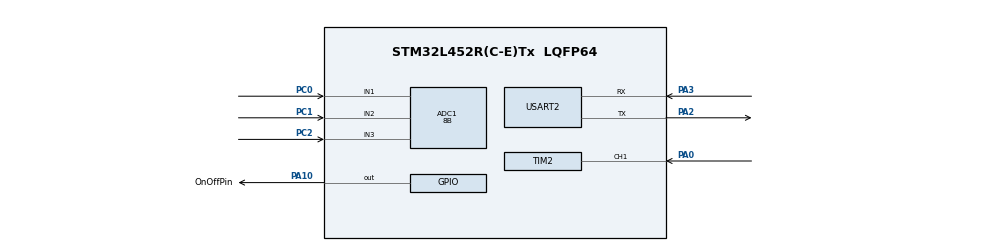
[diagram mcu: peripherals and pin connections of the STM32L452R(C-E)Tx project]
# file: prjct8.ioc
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ADC1.Channel-0\#ChannelRegularConversion=ADC_CHANNEL_1
ADC1.Channel-1\#ChannelRegularConversion=ADC_CHANNEL_1
ADC1.Channel-2\#ChannelRegularConversion=ADC_CHANNEL_1
ADC1.DiscontinuousConvMode=ENABLE
ADC1.NbrOfConversion=3
ADC1.NbrOfConversionFlag=1
ADC1.NbrOfDiscConversion=2
ADC1.OffsetNumber-0\#ChannelRegularConversion=ADC_OFFSET_NONE
ADC1.OffsetNumber-1\#ChannelRegularConversion=ADC_OFFSET_NONE
ADC1.OffsetNumber-2\#ChannelRegularConversion=ADC_OFFSET_NONE
ADC1.Rank-0\#ChannelRegularConversion=1
ADC1.Rank-1\#ChannelRegularConversion=2
ADC1.Rank-2\#ChannelRegularConversion=3
ADC1.Resolution=ADC_RESOLUTION_8B
ADC1.SamplingTime-0\#ChannelRegularConversion=ADC_SAMPLETIME_2CYCLES_5
ADC1.SamplingTime-1\#ChannelRegularConversion=ADC_SAMPLETIME_2CYCLES_5
ADC1.SamplingTime-2\#ChannelRegularConversion=ADC_SAMPLETIME_2CYCLES_5
ADC1.master=1
Dma.ADC1.0.Direction=DMA_PERIPH_TO_MEMORY
Dma.ADC1.0.Instance=DMA1_Channel1
Dma.ADC1.0.MemDataAlignment=DMA_MDATAALIGN_HALFWORD
Dma.ADC1.0.MemInc=DMA_MINC_ENABLE
Dma.ADC1.0.Mode=DMA_NORMAL
Dma.ADC1.0.PeriphDataAlignment=DMA_PDATAALIGN_HALFWORD
Dma.ADC1.0.PeriphInc=DMA_PINC_DISABLE
Dma.ADC1.0.Priority=DMA_PRIORITY_LOW
Dma.Request0=ADC1
Mcu.Family=STM32L4
Mcu.Name=STM32L452R(C-E)Tx
Mcu.Package=LQFP64
NVIC.DMA1_Channel1_IRQn=true\:0\:0\:false\:false\:true\:false\:true\:true
NVIC.PriorityGroup=NVIC_PRIORITYGROUP_4
NVIC.TIM2_IRQn=true\:0\:0\:false\:false\:true\:true\:true\:true
PA0.Signal=S_TIM2_CH1
PA10.GPIO_Label=OnOffPin
PA10.Signal=GPIO_Output
PA2.Mode=Asynchronous
PA2.Signal=USART2_TX
PA3.Mode=Asynchronous
PA3.Signal=USART2_RX
PC0.Signal=ADCx_IN1
PC1.Signal=ADCx_IN2
PC2.Signal=ADCx_IN3
ProjectManager.HeapSize=0x200
ProjectManager.StackSize=0x400
ProjectManager.TargetToolchain=STM32CubeIDE
RCC.ADCFreq_Value=32000000
RCC.AHBCLKDivider=RCC_SYSCLK_DIV8
RCC.AHBFreq_Value=4000000
RCC.APB1Freq_Value=4000000
RCC.APB1TimFreq_Value=4000000
RCC.APB2Freq_Value=4000000
RCC.APB2TimFreq_Value=4000000
RCC.CortexFreq_Value=4000000
RCC.HCLKFreq_Value=4000000
RCC.HSE_VALUE=8000000
RCC.HSI48_VALUE=48000000
RCC.HSI_VALUE=16000000
RCC.LSE_VALUE=32768
RCC.MSI_VALUE=4000000
RCC.PLLN=16
RCC.PLLSAI1N=16
RCC.SYSCLKFreq_VALUE=32000000
RCC.SYSCLKSource=RCC_SYSCLKSOURCE_PLLCLK
RCC.USBFreq_Value=32000000
RCC.VCOOutputFreq_Value=64000000
SH.ADCx_IN1.0=ADC1_IN1,IN1-Single-Ended
SH.ADCx_IN2.0=ADC1_IN2,IN2-Single-Ended
SH.ADCx_IN3.0=ADC1_IN3,IN3-Single-Ended
SH.S_TIM2_CH1.0=TIM2_CH1,Input_Capture1_from_TI1
TIM2.Channel-Input_Capture1_from_TI1=TIM_CHANNEL_1
USART2.VirtualMode-Asynchronous=VM_ASYNC
board=custom

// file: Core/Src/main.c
/* USER CODE BEGIN Header */
/**
 ******************************************************************************
 * @file           : main.c
 * @brief          : Main program body
 ******************************************************************************
 * @attention
 *
 * Copyright (c) 2023 STMicroelectronics.
 * All rights reserved.
 *
 * This software is licensed under terms that can be found in the LICENSE file
 * in the root directory of this software component.
 * If no LICENSE file comes with this software, it is provided AS-IS.
 *
 ******************************************************************************
 */
/* USER CODE END Header */
#include "main.h"
#include <stdio.h>
#include <stdlib.h>
#include <string.h>

ADC_HandleTypeDef hadc1;
DMA_HandleTypeDef hdma_adc1;

TIM_HandleTypeDef htim2;

UART_HandleTypeDef huart2;

void SystemClock_Config(void);
static void MX_GPIO_Init(void);
static void MX_DMA_Init(void);
static void MX_ADC1_Init(void);
static void MX_USART2_UART_Init(void);
static void MX_TIM2_Init(void);

/* USER CODE BEGIN 0 */

void SET_CHANNEL_ONE() {

	ADC_ChannelConfTypeDef sConfig = { 0 };
	sConfig.Channel = ADC_CHANNEL_1;
	sConfig.Rank = ADC_REGULAR_RANK_1;
	sConfig.SamplingTime = ADC_SAMPLETIME_640CYCLES_5;
	sConfig.SingleDiff = ADC_SINGLE_ENDED;
	sConfig.OffsetNumber = ADC_OFFSET_NONE;
	sConfig.Offset = 0;
	if (HAL_ADC_ConfigChannel(&hadc1, &sConfig) != HAL_OK) {
		Error_Handler();
	}

}
void SET_CHANNEL_TWO() {

	ADC_ChannelConfTypeDef sConfig = { 0 };

	sConfig.Rank = ADC_REGULAR_RANK_1;
	if (HAL_ADC_ConfigChannel(&hadc1, &sConfig) != HAL_OK) {
		Error_Handler();
	}

}
void SET_CHANNEL_THREE() {

	ADC_ChannelConfTypeDef sConfig = { 0 };
	sConfig.Rank = ADC_REGULAR_RANK_1;
	if (HAL_ADC_ConfigChannel(&hadc1, &sConfig) != HAL_OK) {
		Error_Handler();
	}

}

int READ_CHANNEL_ONE() {

	int data_conversion_1;
	SET_CHANNEL_ONE();
	HAL_ADC_Start(&hadc1);

	HAL_ADC_PollForConversion(&hadc1, 500);

	data_conversion_1 = HAL_ADC_GetValue(&hadc1);
	return data_conversion_1;
}

int READ_CHANNEL_TWO() {
	int data_conversion_2;
	SET_CHANNEL_TWO();
	HAL_ADC_Start(&hadc1);

	HAL_ADC_PollForConversion(&hadc1, 500);

	data_conversion_2 = HAL_ADC_GetValue(&hadc1);

	return data_conversion_2;
}

int READ_CHANNEL_THREE() {
	int data_conversion_3;
	SET_CHANNEL_THREE();
	HAL_ADC_Start(&hadc1);

	HAL_ADC_PollForConversion(&hadc1, 500);

	data_conversion_3 = HAL_ADC_GetValue(&hadc1);

	return data_conversion_3;
}

volatile uint32_t tempo = 0;
void HAL_TIM_PeriodElapsedCallback(TIM_HandleTypeDef *htim) {
	if (htim->Instance == TIM2) {
		tempo++;
	}
}

/* USER CODE END 0 */

int main(void) {

	/* MCU Configuration--------------------------------------------------------*/

	/* Reset of all peripherals, Initializes the Flash interface and the Systick. */
	HAL_Init();

	/* Configure the system clock */
	SystemClock_Config();

	/* Initialize all configured peripherals */
	MX_GPIO_Init();
	MX_DMA_Init();
	MX_ADC1_Init();
	MX_USART2_UART_Init();
	MX_TIM2_Init();
	/* USER CODE BEGIN 2 */

	int data_conversion_1;
	int data_conversion_2;
	int data_conversion_3;
	int c = 0;
	char cBuff[100];

	/* USER CODE END 2 */

	/* Infinite loop */
	/* USER CODE BEGIN WHILE */
	while (1) {
		while (tempo < 1) {
			HAL_TIM_Base_Start_IT(&htim2);

			HAL_GPIO_WritePin( GPIOA, OnOffPin_Pin, GPIO_PIN_SET);
			data_conversion_1 = READ_CHANNEL_ONE();
			HAL_GPIO_WritePin( GPIOA, OnOffPin_Pin, GPIO_PIN_RESET);

			HAL_GPIO_WritePin( GPIOA, OnOffPin_Pin, GPIO_PIN_SET);
			data_conversion_2 = READ_CHANNEL_TWO();
			HAL_GPIO_WritePin( GPIOA, OnOffPin_Pin, GPIO_PIN_RESET);

			HAL_GPIO_WritePin( GPIOA, OnOffPin_Pin, GPIO_PIN_SET);
			data_conversion_3 = READ_CHANNEL_THREE();
			HAL_GPIO_WritePin( GPIOA, OnOffPin_Pin, GPIO_PIN_RESET);

			HAL_ADC_Stop(&hadc1);
			c++;
		}
		itoa(c,cBuff,10);
		HAL_UART_Transmit(&huart2, (uint8_t*) cBuff, strlen(cBuff),
		HAL_MAX_DELAY);
		tempo = 0;
		c = 0;

	}

	/* USER CODE END WHILE */

}

void SystemClock_Config(void) {
RCC_OscInitTypeDef RCC_OscInitStruct = { 0 };
RCC_ClkInitTypeDef RCC_ClkInitStruct = { 0 };

/** Configure the main internal regulator output voltage
 */
if (HAL_PWREx_ControlVoltageScaling(PWR_REGULATOR_VOLTAGE_SCALE1) != HAL_OK) {
	Error_Handler();
}

/** Initializes the RCC Oscillators according to the specified parameters
 * in the RCC_OscInitTypeDef structure.
 */
RCC_OscInitStruct.OscillatorType = RCC_OSCILLATORTYPE_HSI
		| RCC_OSCILLATORTYPE_MSI;
RCC_OscInitStruct.HSIState = RCC_HSI_ON;
RCC_OscInitStruct.HSICalibrationValue = RCC_HSICALIBRATION_DEFAULT;
RCC_OscInitStruct.MSIState = RCC_MSI_ON;
RCC_OscInitStruct.MSICalibrationValue = 0;
RCC_OscInitStruct.MSIClockRange = RCC_MSIRANGE_6;
RCC_OscInitStruct.PLL.PLLState = RCC_PLL_NONE;
if (HAL_RCC_OscConfig(&RCC_OscInitStruct) != HAL_OK) {
	Error_Handler();
}

/** Initializes the CPU, AHB and APB buses clocks
 */
RCC_ClkInitStruct.ClockType = RCC_CLOCKTYPE_HCLK | RCC_CLOCKTYPE_SYSCLK
		| RCC_CLOCKTYPE_PCLK1 | RCC_CLOCKTYPE_PCLK2;
RCC_ClkInitStruct.SYSCLKSource = RCC_SYSCLKSOURCE_MSI;
RCC_ClkInitStruct.AHBCLKDivider = RCC_SYSCLK_DIV1;
RCC_ClkInitStruct.APB1CLKDivider = RCC_HCLK_DIV1;
RCC_ClkInitStruct.APB2CLKDivider = RCC_HCLK_DIV1;

if (HAL_RCC_ClockConfig(&RCC_ClkInitStruct, FLASH_LATENCY_0) != HAL_OK) {
	Error_Handler();
}
}

static void MX_ADC1_Init(void) {

ADC_ChannelConfTypeDef sConfig = { 0 };

/** Common config
 */
hadc1.Instance = ADC1;
hadc1.Init.ClockPrescaler = ADC_CLOCK_ASYNC_DIV1;
hadc1.Init.Resolution = ADC_RESOLUTION_8B;
hadc1.Init.DataAlign = ADC_DATAALIGN_RIGHT;
hadc1.Init.ScanConvMode = ADC_SCAN_ENABLE;
hadc1.Init.EOCSelection = ADC_EOC_SINGLE_CONV;
hadc1.Init.LowPowerAutoWait = DISABLE;
hadc1.Init.ContinuousConvMode = DISABLE;
hadc1.Init.NbrOfConversion = 3;
hadc1.Init.DiscontinuousConvMode = ENABLE;
hadc1.Init.NbrOfDiscConversion = 2;
hadc1.Init.ExternalTrigConv = ADC_SOFTWARE_START;
hadc1.Init.ExternalTrigConvEdge = ADC_EXTERNALTRIGCONVEDGE_NONE;
hadc1.Init.DMAContinuousRequests = DISABLE;
hadc1.Init.Overrun = ADC_OVR_DATA_PRESERVED;
hadc1.Init.OversamplingMode = DISABLE;
hadc1.Init.DFSDMConfig = ADC_DFSDM_MODE_ENABLE;
if (HAL_ADC_Init(&hadc1) != HAL_OK) {
	Error_Handler();
}

/** Configure Regular Channel
 */
sConfig.Channel = ADC_CHANNEL_1;
sConfig.Rank = ADC_REGULAR_RANK_1;
sConfig.SamplingTime = ADC_SAMPLETIME_2CYCLES_5;
sConfig.SingleDiff = ADC_SINGLE_ENDED;
sConfig.OffsetNumber = ADC_OFFSET_NONE;
sConfig.Offset = 0;
if (HAL_ADC_ConfigChannel(&hadc1, &sConfig) != HAL_OK) {
	Error_Handler();
}

/** Configure Regular Channel
 */
sConfig.Rank = ADC_REGULAR_RANK_2;
if (HAL_ADC_ConfigChannel(&hadc1, &sConfig) != HAL_OK) {
	Error_Handler();
}

/** Configure Regular Channel
 */
sConfig.Rank = ADC_REGULAR_RANK_3;
if (HAL_ADC_ConfigChannel(&hadc1, &sConfig) != HAL_OK) {
	Error_Handler();
}

}

static void MX_TIM2_Init(void) {

TIM_MasterConfigTypeDef sMasterConfig = { 0 };
TIM_IC_InitTypeDef sConfigIC = { 0 };

htim2.Instance = TIM2;
htim2.Init.Prescaler = 4;
htim2.Init.CounterMode = TIM_COUNTERMODE_UP;
htim2.Init.Period = 1000000;
htim2.Init.ClockDivision = TIM_CLOCKDIVISION_DIV1;
htim2.Init.AutoReloadPreload = TIM_AUTORELOAD_PRELOAD_DISABLE;
if (HAL_TIM_IC_Init(&htim2) != HAL_OK) {
	Error_Handler();
}
sMasterConfig.MasterOutputTrigger = TIM_TRGO_RESET;
sMasterConfig.MasterSlaveMode = TIM_MASTERSLAVEMODE_DISABLE;
if (HAL_TIMEx_MasterConfigSynchronization(&htim2, &sMasterConfig) != HAL_OK) {
	Error_Handler();
}
sConfigIC.ICPolarity = TIM_INPUTCHANNELPOLARITY_RISING;
sConfigIC.ICSelection = TIM_ICSELECTION_DIRECTTI;
sConfigIC.ICPrescaler = TIM_ICPSC_DIV1;
sConfigIC.ICFilter = 0;
if (HAL_TIM_IC_ConfigChannel(&htim2, &sConfigIC, TIM_CHANNEL_1) != HAL_OK) {
	Error_Handler();
}

}

static void MX_USART2_UART_Init(void) {

huart2.Instance = USART2;
huart2.Init.BaudRate = 115200;
huart2.Init.WordLength = UART_WORDLENGTH_8B;
huart2.Init.StopBits = UART_STOPBITS_1;
huart2.Init.Parity = UART_PARITY_NONE;
huart2.Init.Mode = UART_MODE_TX_RX;
huart2.Init.HwFlowCtl = UART_HWCONTROL_NONE;
huart2.Init.OverSampling = UART_OVERSAMPLING_16;
huart2.Init.OneBitSampling = UART_ONE_BIT_SAMPLE_DISABLE;
huart2.AdvancedInit.AdvFeatureInit = UART_ADVFEATURE_NO_INIT;
if (HAL_UART_Init(&huart2) != HAL_OK) {
	Error_Handler();
}

}

static void MX_DMA_Init(void) {

/* DMA controller clock enable */
__HAL_RCC_DMA1_CLK_ENABLE();

/* DMA interrupt init */
/* DMA1_Channel1_IRQn interrupt configuration */
HAL_NVIC_SetPriority(DMA1_Channel1_IRQn, 0, 0);
HAL_NVIC_EnableIRQ(DMA1_Channel1_IRQn);

}

static void MX_GPIO_Init(void) {
GPIO_InitTypeDef GPIO_InitStruct = { 0 };

/* GPIO Ports Clock Enable */
__HAL_RCC_GPIOC_CLK_ENABLE();
__HAL_RCC_GPIOA_CLK_ENABLE();

/*Configure GPIO pin Output Level */
HAL_GPIO_WritePin(OnOffPin_GPIO_Port, OnOffPin_Pin, GPIO_PIN_RESET);

/*Configure GPIO pin : OnOffPin_Pin */
GPIO_InitStruct.Pin = OnOffPin_Pin;
GPIO_InitStruct.Mode = GPIO_MODE_OUTPUT_PP;
GPIO_InitStruct.Pull = GPIO_NOPULL;
GPIO_InitStruct.Speed = GPIO_SPEED_FREQ_LOW;
HAL_GPIO_Init(OnOffPin_GPIO_Port, &GPIO_InitStruct);

}

void Error_Handler(void) {
__disable_irq();
while (1) {
}
}
